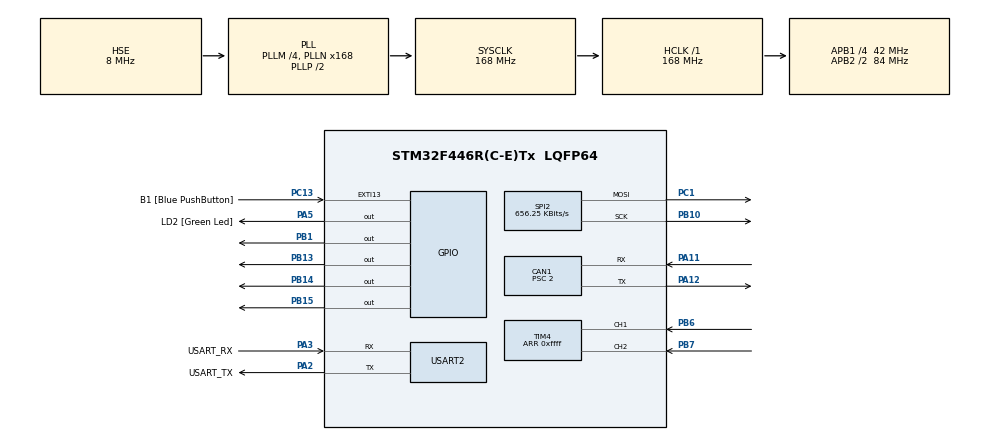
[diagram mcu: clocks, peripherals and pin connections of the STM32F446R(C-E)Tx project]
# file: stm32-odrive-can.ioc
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Mcu.Family=STM32F4
FREERTOS.Queues01=canCommandsQueue,8,uint16_t,0,Dynamic,NULL,NULL;canRxBuffer,8,CanMessage_t,0,Dynamic,NULL,NULL
NVIC.CAN1_RX1_IRQn=true\:5\:0\:false\:false\:true\:true\:true\:true
CAN1.NART=DISABLE
PH0-OSC_IN.Signal=RCC_OSC_IN
RCC.CortexFreq_Value=168000000
FREERTOS.BinarySemaphores01=canInterruptBinarySem,Dynamic,NULL;displayBinarySem,Dynamic,NULL
SPI2.VirtualType=VM_MASTER
PB10.Mode=TX_Only_Simplex_Unidirect_Master
CAN1.AWUM=DISABLE
Dma.USART2_TX.1.MemInc=DMA_MINC_ENABLE
PA14.GPIO_Label=TCK
TIM4.EncoderMode=TIM_ENCODERMODE_TI12
PA11.Mode=Master
PC13.GPIO_Label=B1 [Blue PushButton]
PB13.Signal=GPIO_Output
PB15.Signal=GPIO_Output
RCC.SYSCLKSource=RCC_SYSCLKSOURCE_PLLCLK
ProjectManager.StackSize=0x400
VP_FREERTOS_VS_CMSIS_V2.Mode=CMSIS_V2
PA12.Signal=CAN1_TX
SPI2.CLKPolarity=SPI_POLARITY_HIGH
Dma.USART2_RX.0.Priority=DMA_PRIORITY_LOW
NVIC.CAN1_TX_IRQn=true\:5\:0\:false\:false\:true\:true\:true\:true
Dma.USART2_RX.0.PeriphDataAlignment=DMA_PDATAALIGN_BYTE
RCC.HCLKFreq_Value=168000000
RCC.APB2TimFreq_Value=168000000
TIM3.Period=500
PB6.Signal=S_TIM4_CH1
Dma.USART2_TX.1.Mode=DMA_NORMAL
NVIC.CAN1_SCE_IRQn=true\:5\:0\:false\:false\:true\:true\:true\:true
RCC.AHBFreq_Value=168000000
SPI2.BaudRatePrescaler=SPI_BAUDRATEPRESCALER_64
PH0-OSC_IN.Mode=HSE-External-Oscillator
NVIC.EXTI15_10_IRQn=true\:5\:0\:false\:false\:true\:true\:true\:true
RCC.HSE_VALUE=8000000
NVIC.TIM8_TRG_COM_TIM14_IRQn=true\:0\:0\:false\:false\:true\:false\:false\:true
Dma.USART2_RX.0.MemDataAlignment=DMA_MDATAALIGN_BYTE
PC14-OSC32_IN.Mode=LSE-External-Oscillator
PA14.Mode=Serial_Wire
Dma.USART2_TX.1.Instance=DMA1_Stream6
TIM3.Prescaler=2100
Dma.USART2_RX.0.Instance=DMA1_Stream5
SPI2.CalculateBaudRate=656.25 KBits/s
SH.S_TIM4_CH2.0=TIM4_CH2,Encoder_Interface
PB7.Signal=S_TIM4_CH2
NVIC.SPI2_IRQn=true\:5\:0\:false\:false\:true\:true\:true\:true
TIM4.Period=0xffff
VP_SYS_VS_tim14.Mode=TIM14
RCC.FLatency-AdvancedSettings=FLASH_LATENCY_5
PH1-OSC_OUT.Mode=HSE-External-Oscillator
CAN1.Prescaler=2
Mcu.Package=LQFP64
PB14.GPIO_PuPd=GPIO_NOPULL
PB1.Signal=GPIO_Output
NVIC.TimeBase=TIM8_TRG_COM_TIM14_IRQn
SPI2.Mode=SPI_MODE_MASTER
Dma.USART2_RX.0.PeriphInc=DMA_PINC_DISABLE
USART2.VirtualMode=VM_ASYNC
Dma.USART2_RX.0.FIFOMode=DMA_FIFOMODE_DISABLE
PA2.GPIO_Label=USART_TX
NVIC.TimeBaseIP=TIM14
SPI2.CLKPhase=SPI_PHASE_2EDGE
TIM4.IC1Filter=4
RCC.APB2CLKDivider=RCC_HCLK_DIV2
SH.S_TIM4_CH1.0=TIM4_CH1,Encoder_Interface
Dma.Request1=USART2_TX
RCC.APB1TimFreq_Value=84000000
SPI2.Direction=SPI_DIRECTION_2LINES
NVIC.DMA1_Stream6_IRQn=true\:5\:0\:false\:false\:true\:true\:false\:true
Dma.Request0=USART2_RX
VP_TIM3_VS_ClockSourceINT.Mode=Internal
PA3.Signal=USART2_RX
CAN1.CalculateTimeQuantum=47.61904761904762
PB3.GPIO_Label=SWO
RCC.PLLSourceVirtual=RCC_PLLSOURCE_HSE
PC15-OSC32_OUT.Mode=LSE-External-Oscillator
Dma.USART2_TX.1.Priority=DMA_PRIORITY_LOW
FREERTOS.Tasks01=controlTask,24,128,controlTaskStart,Default,NULL,Dynamic,NULL,NULL;displayTask,8,128,diplayTaskStart,Default,NULL,Dynamic,NULL,NULL;canTask,24,256,canTaskStart,Default,NULL,Dynamic,NULL,NULL
Dma.USART2_TX.1.FIFOMode=DMA_FIFOMODE_DISABLE
PC13.Signal=GPXTI13
Dma.USART2_RX.0.Direction=DMA_PERIPH_TO_MEMORY
TIM4.IC2Filter=4
RCC.APB1CLKDivider=RCC_HCLK_DIV4
PC14-OSC32_IN.Signal=RCC_OSC32_IN
Dma.USART2_TX.1.PeriphDataAlignment=DMA_PDATAALIGN_BYTE
NVIC.USART2_IRQn=true\:5\:0\:false\:false\:true\:true\:true\:true
Dma.USART2_RX.0.Mode=DMA_NORMAL
PA13.Signal=SYS_JTMS-SWDIO
PA3.Mode=Asynchronous
CAN1.BS2=CAN_BS2_4TQ
CAN1.BS1=CAN_BS1_16TQ
ProjectManager.TargetToolchain=Makefile
NVIC.DMA1_Stream5_IRQn=true\:5\:0\:false\:false\:true\:true\:false\:true
RCC.USBFreq_Value=168000000
PC15-OSC32_OUT.Signal=RCC_OSC32_OUT
CAN1.ABOM=DISABLE
PB10.Signal=SPI2_SCK
PB14.Signal=GPIO_Output
PA5.Signal=GPIO_Output
Dma.USART2_TX.1.PeriphInc=DMA_PINC_DISABLE
board=NUCLEO-F446RE
RCC.VCOOutputFreq_Value=336000000
NVIC.TIM3_IRQn=true\:5\:0\:false\:false\:true\:true\:true\:true
Dma.USART2_TX.1.Direction=DMA_MEMORY_TO_PERIPH
RCC.APB2Freq_Value=84000000
PH1-OSC_OUT.Signal=RCC_OSC_OUT
PA13.Mode=Serial_Wire
Mcu.Name=STM32F446R(C-E)Tx
Dma.USART2_RX.0.MemInc=DMA_MINC_ENABLE
PA2.Signal=USART2_TX
PA13.GPIO_Label=TMS
CAN1.SJW=CAN_SJW_4TQ
RCC.48MHZClocksFreq_Value=84000000
PB3.Signal=SYS_JTDO-SWO
RCC.SYSCLKFreq_VALUE=168000000
PA12.Mode=Master
PA5.GPIO_Label=LD2 [Green Led]
PC13.GPIO_ModeDefaultEXTI=GPIO_MODE_IT_FALLING
PA11.Signal=CAN1_RX
PA14.Signal=SYS_JTCK-SWCLK
ProjectManager.HeapSize=0x200
FREERTOS.Timers01=canSendTimer,canSendTimerCallback,osTimerPeriodic,Default,NULL,Dynamic,NULL
RCC.HSI_VALUE=16000000
NVIC.PriorityGroup=NVIC_PRIORITYGROUP_4
RCC.PLLM=4
RCC.PLLN=168
PA2.Mode=Asynchronous
Dma.USART2_TX.1.MemDataAlignment=DMA_MDATAALIGN_BYTE
RCC.APB1Freq_Value=42000000
PC1.Signal=SPI2_MOSI
NVIC.CAN1_RX0_IRQn=true\:5\:0\:false\:false\:true\:true\:true\:true
PC1.Mode=TX_Only_Simplex_Unidirect_Master
PA3.GPIO_Label=USART_RX

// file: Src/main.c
/* USER CODE BEGIN Header */
/**
  ******************************************************************************
  * @file           : main.c
  * @brief          : Main program body
  ******************************************************************************
  * @attention
  *
  * <h2><center>&copy; Copyright (c) 2020 STMicroelectronics.
  * All rights reserved.</center></h2>
  *
  * This software component is licensed by ST under BSD 3-Clause license,
  * the "License"; You may not use this file except in compliance with the
  * License. You may obtain a copy of the License at:
  *                        opensource.org/licenses/BSD-3-Clause
  *
  ******************************************************************************
  */
/* USER CODE END Header */

#include "main.h"
#include "cmsis_os.h"
#include "can.h"
#include "dma.h"
#include "spi.h"
#include "tim.h"
#include "usart.h"
#include "gpio.h"

/* USER CODE BEGIN Includes */
#include "odrive_can.h"

/* USER CODE END Includes */

/* USER CODE BEGIN PD */
#define AXIS0_NODE_ID (3 << 5)
#define AXIS1_NODE_ID (1 << 5)

/* USER CODE END PD */

/* USER CODE BEGIN PV */
CAN_TxHeaderTypeDef pTxHeaderGetVBus;
CAN_TxHeaderTypeDef pTxHeaderEncCount;
CAN_RxHeaderTypeDef pRxHeader;
uint32_t TxMailbox;
// uint8_t tData[8] = {0,0,0,0,0,0,0,0}; //declare byte to be transmitted //declare a receive byte
uint8_t tData[0]; //declare byte to be transmitted //declare a receive byte
uint8_t rData[8];
union {
  float f;
  unsigned long ul;
} u;

HAL_StatusTypeDef status;

CAN_FilterTypeDef pFilter;

volatile uint8_t flag1 = 0;

/* USER CODE END PV */

void SystemClock_Config(void);
void MX_FREERTOS_Init(void);
/* USER CODE BEGIN PFP */
int _write(int file, char *ptr, int len);

/* USER CODE END PFP */

int main(void)
{

  /* MCU Configuration--------------------------------------------------------*/

  /* Reset of all peripherals, Initializes the Flash interface and the Systick. */
  HAL_Init();

  /* Configure the system clock */
  SystemClock_Config();

  /* Initialize all configured peripherals */
  MX_GPIO_Init();
  MX_DMA_Init();
  MX_CAN1_Init();
  MX_TIM3_Init();
  MX_USART2_UART_Init();
  MX_SPI2_Init();
  MX_TIM4_Init();
  /* USER CODE BEGIN 2 */

  odrive_can_init(AXIS_0);

  /* USER CODE END 2 */

  /* Init scheduler */
  osKernelInitialize();  /* Call init function for freertos objects (in freertos.c) */
  MX_FREERTOS_Init();
  /* Start scheduler */
  osKernelStart();

  /* We should never get here as control is now taken by the scheduler */
  /* Infinite loop */
  while (1)
  {

  }
}

void SystemClock_Config(void)
{
  RCC_OscInitTypeDef RCC_OscInitStruct = {0};
  RCC_ClkInitTypeDef RCC_ClkInitStruct = {0};

  /** Configure the main internal regulator output voltage
  */
  __HAL_RCC_PWR_CLK_ENABLE();
  __HAL_PWR_VOLTAGESCALING_CONFIG(PWR_REGULATOR_VOLTAGE_SCALE1);
  /** Initializes the CPU, AHB and APB busses clocks
  */
  RCC_OscInitStruct.OscillatorType = RCC_OSCILLATORTYPE_HSE;
  RCC_OscInitStruct.HSEState = RCC_HSE_ON;
  RCC_OscInitStruct.PLL.PLLState = RCC_PLL_ON;
  RCC_OscInitStruct.PLL.PLLSource = RCC_PLLSOURCE_HSE;
  RCC_OscInitStruct.PLL.PLLM = 4;
  RCC_OscInitStruct.PLL.PLLN = 168;
  RCC_OscInitStruct.PLL.PLLP = RCC_PLLP_DIV2;
  RCC_OscInitStruct.PLL.PLLQ = 2;
  RCC_OscInitStruct.PLL.PLLR = 2;
  if (HAL_RCC_OscConfig(&RCC_OscInitStruct) != HAL_OK)
  {
    Error_Handler();
  }
  /** Initializes the CPU, AHB and APB busses clocks
  */
  RCC_ClkInitStruct.ClockType = RCC_CLOCKTYPE_HCLK|RCC_CLOCKTYPE_SYSCLK
                              |RCC_CLOCKTYPE_PCLK1|RCC_CLOCKTYPE_PCLK2;
  RCC_ClkInitStruct.SYSCLKSource = RCC_SYSCLKSOURCE_PLLCLK;
  RCC_ClkInitStruct.AHBCLKDivider = RCC_SYSCLK_DIV1;
  RCC_ClkInitStruct.APB1CLKDivider = RCC_HCLK_DIV4;
  RCC_ClkInitStruct.APB2CLKDivider = RCC_HCLK_DIV2;

  if (HAL_RCC_ClockConfig(&RCC_ClkInitStruct, FLASH_LATENCY_5) != HAL_OK)
  {
    Error_Handler();
  }
}

/* USER CODE BEGIN 4 */
int _write(int file, char *ptr, int len)
{
  /* Implement your write code here, this is used by puts and printf for example */
  int i = 0;
  for (i = 0; i < len; i++)
    ITM_SendChar((*ptr++));
  return len;
}

/* USER CODE END 4 */

 /**
  * @brief  Period elapsed callback in non blocking mode
  * @note   This function is called  when TIM14 interrupt took place, inside
  * HAL_TIM_IRQHandler(). It makes a direct call to HAL_IncTick() to increment
  * a global variable "uwTick" used as application time base.
  * @param  htim : TIM handle
  * @retval None
  */
void HAL_TIM_PeriodElapsedCallback(TIM_HandleTypeDef *htim)
{
  if (htim->Instance == TIM14) {
    HAL_IncTick();
  }
}

void Error_Handler(void)
{
}

/************************ (C) COPYRIGHT STMicroelectronics *****END OF FILE****/

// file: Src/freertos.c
/* USER CODE BEGIN Header */
/**
  ******************************************************************************
  * File Name          : freertos.c
  * Description        : Code for freertos applications
  ******************************************************************************
  * @attention
  *
  * <h2><center>&copy; Copyright (c) 2020 STMicroelectronics.
  * All rights reserved.</center></h2>
  *
  * This software component is licensed by ST under Ultimate Liberty license
  * SLA0044, the "License"; You may not use this file except in compliance with
  * the License. You may obtain a copy of the License at:
  *                             www.st.com/SLA0044
  *
  ******************************************************************************
  */
/* USER CODE END Header */

#include "FreeRTOS.h"
#include "task.h"
#include "main.h"
#include "cmsis_os.h"

/* USER CODE BEGIN Includes */
#include "display.h"
#include "odrive_can.h"
/* USER CODE END Includes */

/* Definitions for controlTask */
osThreadId_t controlTaskHandle;
const osThreadAttr_t controlTask_attributes = {
  .name = "controlTask",
  .priority = (osPriority_t) osPriorityAboveNormal,
  .stack_size = 128 * 4
};
/* Definitions for displayTask */
osThreadId_t displayTaskHandle;
const osThreadAttr_t displayTask_attributes = {
  .name = "displayTask",
  .priority = (osPriority_t) osPriorityLow,
  .stack_size = 128 * 4
};
/* Definitions for canTask */
osThreadId_t canTaskHandle;
const osThreadAttr_t canTask_attributes = {
  .name = "canTask",
  .priority = (osPriority_t) osPriorityNormal,
  .stack_size = 256 * 4
};
/* Definitions for canCommandsQueue */
osMessageQueueId_t canCommandsQueueHandle;
const osMessageQueueAttr_t canCommandsQueue_attributes = {
  .name = "canCommandsQueue"
};
/* Definitions for canRxBuffer */
osMessageQueueId_t canRxBufferHandle;
const osMessageQueueAttr_t canRxBuffer_attributes = {
  .name = "canRxBuffer"
};
/* Definitions for canSendTimer */
osTimerId_t canSendTimerHandle;
const osTimerAttr_t canSendTimer_attributes = {
  .name = "canSendTimer"
};
/* Definitions for canInterruptBinarySem */
osSemaphoreId_t canInterruptBinarySemHandle;
const osSemaphoreAttr_t canInterruptBinarySem_attributes = {
  .name = "canInterruptBinarySem"
};
/* Definitions for displayBinarySem */
osSemaphoreId_t displayBinarySemHandle;
const osSemaphoreAttr_t displayBinarySem_attributes = {
  .name = "displayBinarySem"
};

void controlTaskStart(void *argument);
void diplayTaskStart(void *argument);
void canTaskStart(void *argument);
void canSendTimerCallback(void *argument);

void MX_FREERTOS_Init(void); /* (MISRA C 2004 rule 8.1) */

void MX_FREERTOS_Init(void) {

  /* Create the semaphores(s) */
  /* creation of canInterruptBinarySem */
  canInterruptBinarySemHandle = osSemaphoreNew(1, 1, &canInterruptBinarySem_attributes);

  /* creation of displayBinarySem */
  displayBinarySemHandle = osSemaphoreNew(1, 1, &displayBinarySem_attributes);

  /* USER CODE BEGIN RTOS_SEMAPHORES */
  // Grab the semaphore so the diplay task won't update until released
  osSemaphoreAcquire(displayBinarySemHandle, 0);
  /* add semaphores, ... */
  /* USER CODE END RTOS_SEMAPHORES */

  /* Create the timer(s) */
  /* creation of canSendTimer */
  canSendTimerHandle = osTimerNew(canSendTimerCallback, osTimerPeriodic, NULL, &canSendTimer_attributes);

  /* USER CODE BEGIN RTOS_TIMERS */
  /* start timers, add new ones, ... */
  osTimerStart(canSendTimerHandle, 10);
  /* USER CODE END RTOS_TIMERS */

  /* Create the queue(s) */
  /* creation of canCommandsQueue */
  canCommandsQueueHandle = osMessageQueueNew (8, sizeof(uint16_t), &canCommandsQueue_attributes);

  /* creation of canRxBuffer */
  canRxBufferHandle = osMessageQueueNew (8, sizeof(CanMessage_t), &canRxBuffer_attributes);

  /* Create the thread(s) */
  /* creation of controlTask */
  controlTaskHandle = osThreadNew(controlTaskStart, NULL, &controlTask_attributes);

  /* creation of displayTask */
  displayTaskHandle = osThreadNew(diplayTaskStart, NULL, &displayTask_attributes);

  /* creation of canTask */
  canTaskHandle = osThreadNew(canTaskStart, NULL, &canTask_attributes);

}

void controlTaskStart(void *argument)
{
  /* USER CODE BEGIN controlTaskStart */
  // Adding display related task to start of the control task as it has higher priority
  display_init();
  odrive_can_write(AXIS_0, MSG_CLEAR_ERRORS);
  osDelay(1000);
  odrive_set_axis0.requested_state = AXIS_STATE_FULL_CALIBRATION_SEQUENCE;
  odrive_can_write(AXIS_0, MSG_SET_AXIS_REQUESTED_STATE);
  osDelay(100);
  while (odrive_get_axis0.axis_current_state != AXIS_STATE_IDLE)
  {
    osDelay(100);
  }
  odrive_set_axis0.requested_state = AXIS_STATE_CLOSED_LOOP_CONTROL;
  odrive_can_write(AXIS_0, MSG_SET_AXIS_REQUESTED_STATE);

  /* Infinite loop */
  for (;;)
  {
    uint32_t count = osKernelGetTickCount();

    display_add_float_line("Ticks", count, 1);
    uint32_t msg_count = osMessageQueueGetCount(canRxBufferHandle);
    display_add_float_line("MsgQ", msg_count, 2);
    // display_add_float_line("Vbus", odrive_state.vbus_voltage, 3);
    display_add_float_line("Enc", odrive_get_axis0.encoder_pos_estimate, 4);
    display_add_float_line("State", odrive_get_axis0.axis_current_state, 5);
    osSemaphoreRelease(displayBinarySemHandle);
    osDelay(1000);
  }
  /* USER CODE END controlTaskStart */
}

void diplayTaskStart(void *argument)
{
  /* USER CODE BEGIN diplayTaskStart */
  /* Infinite loop */
  for (;;)
  {
    // Wait for another thread to release the semaphore which will call a display update
    osSemaphoreAcquire(displayBinarySemHandle, osWaitForever);
    display_update();
  }
  /* USER CODE END diplayTaskStart */
}

void canTaskStart(void *argument)
{
  /* USER CODE BEGIN canTaskStart */
  /* Infinite loop */
  for (;;)
  {
    CanMessage_t msg;
    osMessageQueueGet(canRxBufferHandle, &msg, NULL, osWaitForever);
    odrive_handle_msg(&msg);
  }
  /* USER CODE END canTaskStart */
}

/* canSendTimerCallback function */
void canSendTimerCallback(void *argument)
{
  /* USER CODE BEGIN canSendTimerCallback */
  odrive_can_write(AXIS_0, MSG_GET_ENCODER_ESTIMATES);

  /* USER CODE END canSendTimerCallback */
}

/************************ (C) COPYRIGHT STMicroelectronics *****END OF FILE****/
